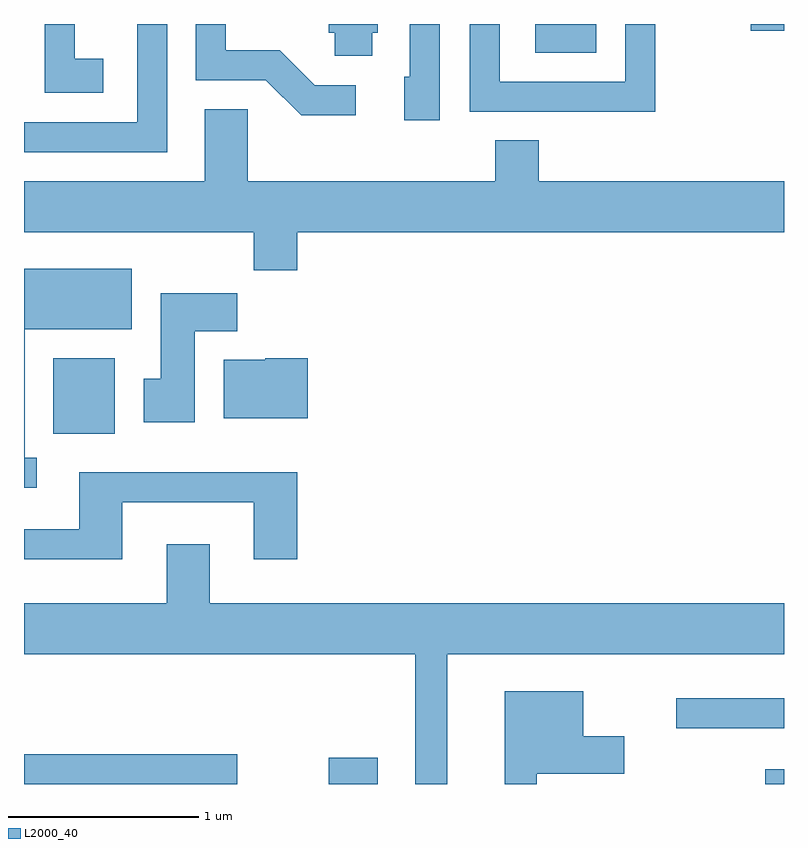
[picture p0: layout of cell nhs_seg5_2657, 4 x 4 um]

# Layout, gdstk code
import gdstk
lib = gdstk.Library(unit=1e-6, precision=1e-09)
def R(c, l, rs):  # rectangles x0, y0, x1, y1
    for r in rs: c.add(gdstk.rectangle(r[:2], r[2:], *l))
def P(c, l, *ps):  # polygons
    for p in ps: c.add(gdstk.Polygon(p, *l))
L2000_40 = (2000, 40)

nhs_seg5_2657 = lib.new_cell('nhs_seg5_2657')
R(nhs_seg5_2657, L2000_40, [(263.611,1496.072,264.734,1496.229), (265.216,1496.072,265.474,1496.209), (267.511,1496.072,267.611,1496.149), (267.043,1496.366,267.611,1496.524), (263.766,1497.916,264.089,1498.314), (266.301,1499.921,266.624,1500.072), (267.436,1500.036,267.611,1500.072)])
P(nhs_seg5_2657, L2000_40, [(265.799,1500.072),(265.641,1500.072),(265.641,1499.794),(265.611,1499.794),(265.611,1499.566),(265.799,1499.566)],
  [(265.444,1500.026),(265.474,1500.026),(265.474,1500.072),(265.216,1500.072),(265.216,1500.026),(265.246,1500.026),(265.246,1499.906),(265.444,1499.906)],
  [(264.029,1499.889),(263.879,1499.889),(263.879,1500.072),(263.721,1500.072),(263.721,1499.711),(264.029,1499.711)],
  [(264.364,1500.072),(264.206,1500.072),(264.206,1499.554),(263.611,1499.554),(263.611,1499.396),(264.364,1499.396)],
  [(265.358,1499.749),(265.142,1499.749),(264.957,1499.934),(264.674,1499.934),(264.674,1500.072),(264.516,1500.072),(264.516,1499.776),(264.884,1499.776),(265.069,1499.591),(265.358,1499.591)],
  [(266.934,1500.072),(266.776,1500.072),(266.776,1499.769),(266.114,1499.769),(266.114,1500.072),(265.956,1500.072),(265.956,1499.611),(266.934,1499.611)],
  [(265.049,1498.976),(267.611,1498.976),(267.611,1499.244),(266.319,1499.244),(266.319,1499.459),(266.091,1499.459),(266.091,1499.244),(264.789,1499.244),(264.789,1499.624),(264.561,1499.624),(264.561,1499.244),(263.611,1499.244),(263.611,1498.976),(264.821,1498.976),(264.821,1498.776),(265.049,1498.776)],
  [(263.678,1497.789),(263.614,1497.789),(263.614,1498.466),(264.179,1498.466),(264.179,1498.784),(263.611,1498.784),(263.611,1497.631),(263.678,1497.631)],
  [(264.509,1498.456),(264.734,1498.456),(264.734,1498.654),(264.331,1498.654),(264.331,1498.204),(264.241,1498.204),(264.241,1497.976),(264.509,1497.976)],
  [(265.104,1498.314),(264.88,1498.314),(264.88,1498.304),(264.661,1498.304),(264.661,1497.996),(265.104,1497.996)],
  [(264.129,1497.556),(264.821,1497.556),(264.821,1497.256),(265.049,1497.256),(265.049,1497.714),(263.901,1497.714),(263.901,1497.414),(263.611,1497.414),(263.611,1497.256),(264.129,1497.256)],
  [(265.839,1496.756),(267.611,1496.756),(267.611,1497.024),(264.589,1497.024),(264.589,1497.334),(264.361,1497.334),(264.361,1497.024),(263.611,1497.024),(263.611,1496.756),(265.671,1496.756),(265.671,1496.072),(265.839,1496.072)],
  [(266.309,1496.126),(266.769,1496.126),(266.769,1496.324),(266.554,1496.324),(266.554,1496.559),(266.141,1496.559),(266.141,1496.072),(266.309,1496.072)])

lib.write_gds('nhs_seg5_2657.gds')
